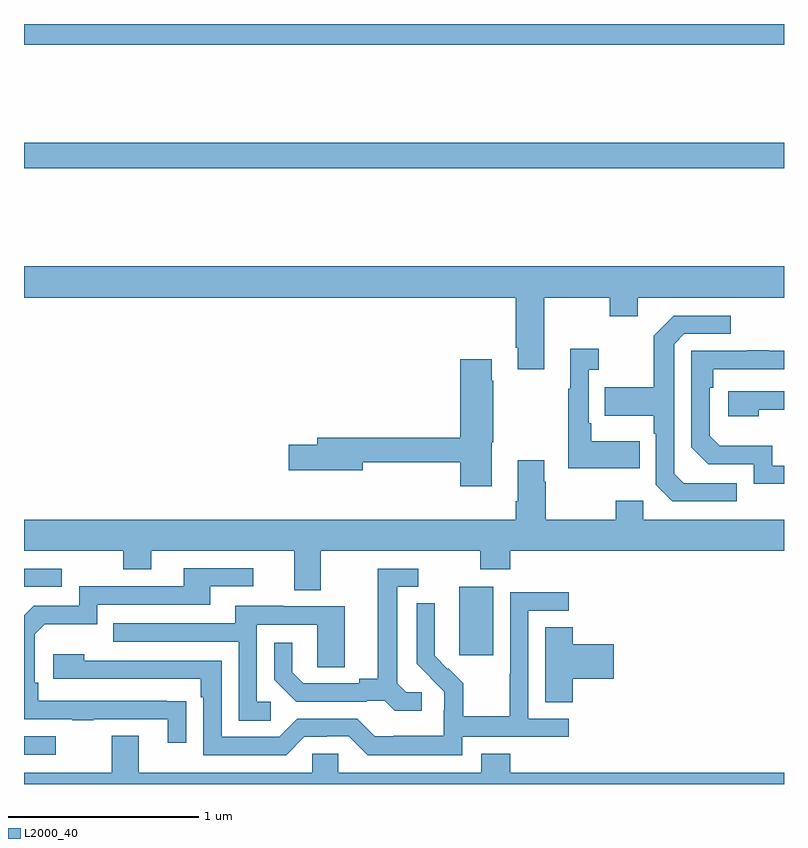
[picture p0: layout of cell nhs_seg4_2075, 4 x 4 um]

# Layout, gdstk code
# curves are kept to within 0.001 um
import gdstk
lib = gdstk.Library(unit=1e-6, precision=1e-09)
def R(c, l, rs):  # rectangles x0, y0, x1, y1
    for r in rs: c.add(gdstk.rectangle(r[:2], r[2:], *l))
def P(c, l, *ps):  # polygons
    for p in ps: c.add(gdstk.Polygon(p, *l))
L2000_40 = (2000, 40)

nhs_seg4_2075 = lib.new_cell('nhs_seg4_2075')
R(nhs_seg4_2075, L2000_40, [(217,821.055,217.168,821.151), (219.29,821.577,219.469,821.938), (217,821.937,217.198,822.033), (217,824.14,221,824.276), (217,824.792,221,824.9)])
P(nhs_seg4_2075, L2000_40, [(219.739,823.46),(220.084,823.46),(220.084,823.361),(220.231,823.361),(220.231,823.46),(221,823.46),(221,823.624),(217,823.624),(217,823.46),(219.587,823.46),(219.587,823.195),(219.599,823.195),(219.599,823.083),(219.739,823.083)],
  [(220.75,822.483),(220.473,822.483),(220.422,822.534),(220.422,823.215),(220.476,823.269),(220.72,823.269),(220.72,823.365),(220.419,823.365),(220.314,823.259),(220.314,822.987),(220.057,822.987),(220.057,822.839),(220.314,822.839),(220.314,822.743),(220.326,822.743),(220.326,822.474),(220.413,822.387),(220.75,822.387)],
  [(220.241,822.703),(219.985,822.703),(219.985,822.799),(219.972,822.799),(219.972,823.079),(220.024,823.079),(220.024,823.192),(219.875,823.192),(219.875,822.979),(219.864,822.979),(219.864,822.563),(220.241,822.563)],
  [(221,822.576),(220.938,822.576),(220.938,822.679),(220.661,822.679),(220.608,822.732),(220.608,822.986),(220.628,822.986),(220.628,823.083),(221,823.083),(221,823.179),(220.919,823.179),(220.919,823.184),(220.807,823.184),(220.807,823.179),(220.512,823.179),(220.512,822.672),(220.602,822.582),(220.842,822.582),(220.842,822.48),(221,822.48)],
  [(219.463,822.699),(219.471,822.699),(219.471,823.022),(219.463,823.022),(219.463,823.135),(219.296,823.135),(219.296,822.722),(218.543,822.722),(218.543,822.686),(218.394,822.686),(218.394,822.551),(218.782,822.551),(218.782,822.594),(219.296,822.594),(219.296,822.468),(219.463,822.468)],
  [(220.868,822.87),(221,822.87),(221,822.966),(220.707,822.966),(220.707,822.836),(220.868,822.836)],
  [(218.563,822.128),(219.4,822.128),(219.4,822.029),(219.56,822.029),(219.56,822.128),(221,822.128),(221,822.292),(220.26,822.292),(220.26,822.391),(220.114,822.391),(220.114,822.292),(219.747,822.292),(219.747,822.491),(219.739,822.491),(219.739,822.604),(219.599,822.604),(219.599,822.388),(219.587,822.388),(219.587,822.292),(217,822.292),(217,822.128),(217.522,822.128),(217.522,822.029),(217.669,822.029),(217.669,822.128),(218.423,822.128),(218.423,821.92),(218.563,821.92)],
  [(217.853,821.336),(217.076,821.337),(217.076,821.434),(217.056,821.434),(217.056,821.688),(217.109,821.741),(217.386,821.741),(217.386,821.844),(217.981,821.844),(217.981,821.94),(218.206,821.94),(218.206,822.036),(217.841,822.036),(217.841,821.94),(217.29,821.94),(217.29,821.838),(217.05,821.838),(217,821.788),(217,821.241),(217.255,821.241),(217.255,821.236),(217.367,821.236),(217.367,821.241),(217.757,821.241),(217.757,821.118),(217.853,821.118)],
  [(219.094,821.382),(219.012,821.382),(218.965,821.429),(218.965,821.937),(219.076,821.937),(219.076,822.033),(218.861,822.033),(218.861,821.453),(218.765,821.453),(218.765,821.43),(218.47,821.43),(218.413,821.487),(218.413,821.644),(218.316,821.644),(218.316,821.45),(218.432,821.334),(218.804,821.334),(218.804,821.337),(218.898,821.337),(218.95,821.285),(219.094,821.285)],
  [(219.306,821.148),(219.868,821.148),(219.868,821.244),(219.654,821.244),(219.654,821.811),(219.868,821.811),(219.868,821.91),(219.558,821.91),(219.558,821.48),(219.556,821.48),(219.556,821.257),(219.311,821.257),(219.311,821.431),(219.234,821.508),(219.231,821.505),(219.161,821.576),(219.162,821.852),(219.066,821.852),(219.066,821.534),(219.212,821.386),(219.212,821.289),(219.21,821.289),(219.21,821.155),(218.947,821.155),(218.947,821.151),(218.847,821.151),(218.754,821.244),(218.439,821.244),(218.343,821.148),(218.04,821.148),(218.04,821.55),(217.316,821.55),(217.316,821.584),(217.155,821.584),(217.155,821.454),(217.931,821.454),(217.931,821.357),(217.944,821.357),(217.944,821.052),(218.379,821.052),(218.475,821.148),(218.594,821.148),(218.594,821.151),(218.709,821.151),(218.809,821.051),(219.306,821.051)],
  [(218.299,821.334),(218.226,821.334),(218.226,821.739),(218.544,821.739),(218.544,821.515),(218.689,821.515),(218.689,821.835),(218.365,821.835),(218.365,821.839),(218.111,821.839),(218.111,821.745),(217.471,821.745),(217.471,821.649),(218.13,821.649),(218.13,821.233),(218.299,821.233)],
  [(219.887,821.453),(220.105,821.453),(220.105,821.636),(219.887,821.636),(219.887,821.726),(219.743,821.726),(219.743,821.329),(219.887,821.329)],
  [(221,820.96),(219.56,820.96),(219.56,821.059),(219.407,821.059),(219.407,820.96),(218.655,820.96),(218.655,821.058),(218.517,821.058),(218.517,820.96),(217.603,820.96),(217.603,821.155),(217.463,821.155),(217.463,820.96),(217,820.96),(217,820.9),(221,820.9)])

lib.write_gds('nhs_seg4_2075.gds')
